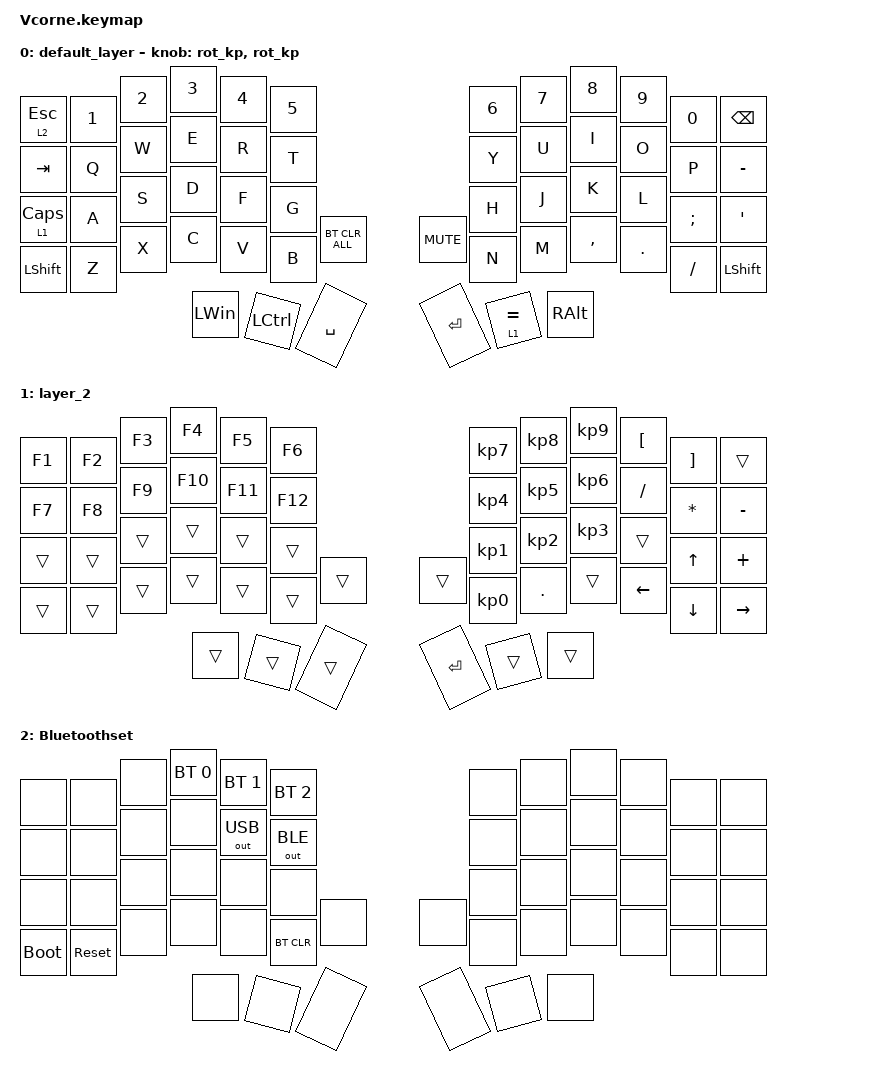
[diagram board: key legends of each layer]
/*
 * Copyright (c) 2020 The ZMK Contributors
 *
 * SPDX-License-Identifier: MIT
 */

#include <behaviors.dtsi>
#include <dt-bindings/zmk/bt.h>
#include <dt-bindings/zmk/keys.h>
#include <dt-bindings/zmk/outputs.h>

/ {
    behaviors {
        rot_kp: sensor_rotate_kp {
            compatible = "zmk,behavior-sensor-rotate";
            #sensor-binding-cells = <0>;
            bindings = <&kp C_VOL_UP &kp C_VOL_DN>;
        };
    };

    sensors: sensors {
        compatible = "zmk,keymap-sensors";
        sensors = <&left_encoder &right_encoder>;
        triggers-per-rotation = <20>;
    };

    combos {
        compatible = "zmk,combos";

        win {
            bindings = <&kp LEFT_WIN>;
            key-positions = <13 48>;
        };
    };

    keymap {
        compatible = "zmk,keymap";

        default_layer {
            // -----------------------------------------------------------------------------------------
            // |  TAB |  Q  |  W  |  E  |  R  |  T  |   |  Y  |  U   |  I  |  O  |  P  | BSPC |
            // | CTRL |  A  |  S  |  D  |  F  |  G  |   |  H  |  J   |  K  |  L  |  ;  |  '   |
            // | SHFT |  Z  |  X  |  C  |  V  |  B  |   |  N  |  M   |  ,  |  .  |  /  | ESC  |
            //                    | GUI | LWR | SPC |   | ENT | RSE  | ALT |

            bindings = <
&lt 2 ESCAPE  &kp N1  &kp N2        &kp N3            &kp N4     &kp N5          &kp N6      &kp N7     &kp N8       &kp N9    &kp N0    &kp BSPC
&kp TAB       &kp Q   &kp W         &kp E             &kp R      &kp T           &kp Y       &kp U      &kp I        &kp O     &kp P     &kp MINUS
&lt 1 CAPS    &kp A   &kp S         &kp D             &kp F      &kp G           &kp H       &kp J      &kp K        &kp L     &kp SEMI  &kp SQT
&kp LSHFT     &kp Z   &kp X         &kp C             &kp V      &kp B           &kp N       &kp M      &kp COMMA    &kp DOT   &kp FSLH  &kp LEFT_SHIFT
                      &kp LEFT_WIN  &kp LEFT_CONTROL  &kp SPACE  &bt BT_CLR_ALL  &kp C_MUTE  &kp ENTER  &lt 1 EQUAL  &kp RALT
            >;

            sensor-bindings = <&rot_kp &rot_kp>;
        };

        layer_2 {
            bindings = <
&kp F1  &kp F2  &kp F3  &kp F4   &kp F5   &kp F6   &kp KP_NUMBER_7  &kp KP_NUMBER_8  &kp KP_NUMBER_9  &kp LBKT  &kp RBKT  &trans
&kp F7  &kp F8  &kp F9  &kp F10  &kp F11  &kp F12  &kp KP_NUMBER_4  &kp KP_NUMBER_5  &kp KP_NUMBER_6  &kp FSLH  &kp STAR  &kp MINUS
&trans  &trans  &trans  &trans   &trans   &trans   &kp KP_NUMBER_1  &kp KP_NUMBER_2  &kp KP_NUMBER_3  &trans    &kp UP    &kp PLUS
&trans  &trans  &trans  &trans   &trans   &trans   &kp KP_NUMBER_0  &kp DOT          &trans           &kp LEFT  &kp DOWN  &kp RIGHT
                &trans  &trans   &trans   &trans   &trans           &kp RET          &trans           &trans
            >;
        };

        Bluetoothset {
            bindings = <
&none        &none       &none  &bt BT_SEL 0  &bt BT_SEL 1  &bt BT_SEL 2  &none  &none  &none  &none  &none  &none
&none        &none       &none  &none         &out OUT_USB  &out OUT_BLE  &none  &none  &none  &none  &none  &none
&none        &none       &none  &none         &none         &none         &none  &none  &none  &none  &none  &none
&bootloader  &sys_reset  &none  &none         &none         &bt BT_CLR    &none  &none  &none  &none  &none  &none
                         &none  &none         &none         &none         &none  &none  &none  &none
            >;
        };
    };
};
